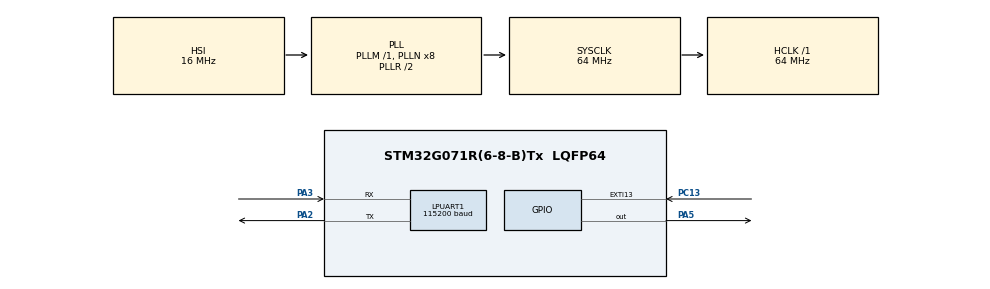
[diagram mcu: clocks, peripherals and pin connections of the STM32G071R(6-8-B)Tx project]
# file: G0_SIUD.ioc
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LPUART1.BaudRate=115200
LPUART1.WordLength=UART_WORDLENGTH_8B
Mcu.Family=STM32G0
Mcu.Name=STM32G071R(6-8-B)Tx
Mcu.Package=LQFP64
NVIC.EXTI4_15_IRQn=true\:0\:0\:false\:false\:true\:true
NVIC.USART3_4_LPUART1_IRQn=true\:0\:0\:false\:false\:true\:true
PA2.Mode=Asynchronous
PA2.Signal=LPUART1_TX
PA3.Mode=Asynchronous
PA3.Signal=LPUART1_RX
PA5.Signal=GPIO_Output
PC13.Signal=GPXTI13
ProjectManager.HeapSize=0x200
ProjectManager.StackSize=0x400
ProjectManager.TargetToolchain=MDK-ARM V5
RCC.ADCFreq_Value=64000000
RCC.AHBFreq_Value=64000000
RCC.CortexFreq_Value=64000000
RCC.EXTERNAL_CLOCK_VALUE=48000
RCC.HCLKFreq_Value=64000000
RCC.HSE_VALUE=8000000
RCC.HSI_VALUE=16000000
RCC.LSE_VALUE=32768
RCC.SYSCLKFreq_VALUE=64000000
RCC.SYSCLKSource=RCC_SYSCLKSOURCE_PLLCLK
RCC.VCOOutputFreq_Value=128000000
board=custom

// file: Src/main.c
/* USER CODE BEGIN Header */
/**
  ******************************************************************************
  * @file           : main.c
  * @brief          : Main program body
  ******************************************************************************
  ** This notice applies to any and all portions of this file
  * that are not between comment pairs USER CODE BEGIN and
  * USER CODE END. Other portions of this file, whether
  * inserted by the user or by software development tools
  * are owned by their respective copyright owners.
  *
  * COPYRIGHT(c) 2019 STMicroelectronics
  *
  * Redistribution and use in source and binary forms, with or without modification,
  * are permitted provided that the following conditions are met:
  *   1. Redistributions of source code must retain the above copyright notice,
  *      this list of conditions and the following disclaimer.
  *   2. Redistributions in binary form must reproduce the above copyright notice,
  *      this list of conditions and the following disclaimer in the documentation
  *      and/or other materials provided with the distribution.
  *   3. Neither the name of STMicroelectronics nor the names of its contributors
  *      may be used to endorse or promote products derived from this software
  *      without specific prior written permission.
  *
  * THIS SOFTWARE IS PROVIDED BY THE COPYRIGHT HOLDERS AND CONTRIBUTORS "AS IS"
  * AND ANY EXPRESS OR IMPLIED WARRANTIES, INCLUDING, BUT NOT LIMITED TO, THE
  * IMPLIED WARRANTIES OF MERCHANTABILITY AND FITNESS FOR A PARTICULAR PURPOSE ARE
  * DISCLAIMED. IN NO EVENT SHALL THE COPYRIGHT HOLDER OR CONTRIBUTORS BE LIABLE
  * FOR ANY DIRECT, INDIRECT, INCIDENTAL, SPECIAL, EXEMPLARY, OR CONSEQUENTIAL
  * DAMAGES (INCLUDING, BUT NOT LIMITED TO, PROCUREMENT OF SUBSTITUTE GOODS OR
  * SERVICES; LOSS OF USE, DATA, OR PROFITS; OR BUSINESS INTERRUPTION) HOWEVER
  * CAUSED AND ON ANY THEORY OF LIABILITY, WHETHER IN CONTRACT, STRICT LIABILITY,
  * OR TORT (INCLUDING NEGLIGENCE OR OTHERWISE) ARISING IN ANY WAY OUT OF THE USE
  * OF THIS SOFTWARE, EVEN IF ADVISED OF THE POSSIBILITY OF SUCH DAMAGE.
  *
  ******************************************************************************
  */
/* USER CODE END Header */

#include "main.h"

/* USER CODE BEGIN Includes */
#include <stdio.h>
/* USER CODE END Includes */

UART_HandleTypeDef hlpuart1;

/* USER CODE BEGIN PV */

uint8_t PC13_flag = 0;
uint8_t bufferTX [] = {117,27,3};	//data to be transmitted
uint8_t bufferRX [3];	//data to be received from the uart interupt

/* USER CODE END PV */

void SystemClock_Config(void);
static void MX_GPIO_Init(void);
static void MX_LPUART1_UART_Init(void);
/* USER CODE BEGIN PFP */
 #ifdef GNUC
 #define PUTCHAR_PROTOTYPE int __io_putchar(int ch)
 #define GETCHAR_PROTOTYPE int __io_getchar(void)
 #else
 #define PUTCHAR_PROTOTYPE int fputc(int ch, FILE *f) 		//declare your function prototypes for putchar and getchar
 #define GETCHAR_PROTOTYPE int fgetc(FILE *f)
 #endif /* GNUC */
/* USER CODE END PFP */

int main(void)
{

  /* MCU Configuration--------------------------------------------------------*/

  /* Reset of all peripherals, Initializes the Flash interface and the Systick. */
  HAL_Init();

  /* Configure the system clock */
  SystemClock_Config();

  /* Initialize all configured peripherals */
  MX_GPIO_Init();
  MX_LPUART1_UART_Init();
  /* USER CODE BEGIN 2 */

	//UART interrupt receive and transfer data goes here

	HAL_UART_Receive_IT(&hlpuart1, bufferRX, 3);
	HAL_UART_Transmit_IT(&hlpuart1, bufferTX, 3);

	//Now we need to handle the callback

  /* USER CODE END 2 */

  /* Infinite loop */
  /* USER CODE BEGIN WHILE */
	char buffer[ 50 ];
	printf("Enter whatever you like and press space or enter: \n\r");
  while (1)
  {

		//fgets(buffer, 50 ,stdin);
		scanf("%s", buffer);		//Demontrating use of scanf
		printf("\n\r");
		printf("This is the output: ");
		printf("%s", buffer); //demontrating use of printf
    /* USER CODE END WHILE */

  }
}

void SystemClock_Config(void)
{
  RCC_OscInitTypeDef RCC_OscInitStruct = {0};
  RCC_ClkInitTypeDef RCC_ClkInitStruct = {0};
  RCC_PeriphCLKInitTypeDef PeriphClkInit = {0};

  /**Configure the main internal regulator output voltage
  */
  HAL_PWREx_ControlVoltageScaling(PWR_REGULATOR_VOLTAGE_SCALE1);
  /**Initializes the CPU, AHB and APB busses clocks
  */
  RCC_OscInitStruct.OscillatorType = RCC_OSCILLATORTYPE_HSI;
  RCC_OscInitStruct.HSIState = RCC_HSI_ON;
  RCC_OscInitStruct.HSIDiv = RCC_HSI_DIV1;
  RCC_OscInitStruct.HSICalibrationValue = RCC_HSICALIBRATION_DEFAULT;
  RCC_OscInitStruct.PLL.PLLState = RCC_PLL_ON;
  RCC_OscInitStruct.PLL.PLLSource = RCC_PLLSOURCE_HSI;
  RCC_OscInitStruct.PLL.PLLM = RCC_PLLM_DIV1;
  RCC_OscInitStruct.PLL.PLLN = 8;
  RCC_OscInitStruct.PLL.PLLP = RCC_PLLP_DIV2;
  RCC_OscInitStruct.PLL.PLLQ = RCC_PLLQ_DIV2;
  RCC_OscInitStruct.PLL.PLLR = RCC_PLLR_DIV2;
  if (HAL_RCC_OscConfig(&RCC_OscInitStruct) != HAL_OK)
  {
    Error_Handler();
  }
  /**Initializes the CPU, AHB and APB busses clocks
  */
  RCC_ClkInitStruct.ClockType = RCC_CLOCKTYPE_HCLK|RCC_CLOCKTYPE_SYSCLK
                              |RCC_CLOCKTYPE_PCLK1;
  RCC_ClkInitStruct.SYSCLKSource = RCC_SYSCLKSOURCE_PLLCLK;
  RCC_ClkInitStruct.AHBCLKDivider = RCC_SYSCLK_DIV1;
  RCC_ClkInitStruct.APB1CLKDivider = RCC_HCLK_DIV1;

  if (HAL_RCC_ClockConfig(&RCC_ClkInitStruct, FLASH_LATENCY_2) != HAL_OK)
  {
    Error_Handler();
  }
  /**Initializes the peripherals clocks
  */
  PeriphClkInit.PeriphClockSelection = RCC_PERIPHCLK_LPUART1;
  PeriphClkInit.Lpuart1ClockSelection = RCC_LPUART1CLKSOURCE_PCLK1;
  if (HAL_RCCEx_PeriphCLKConfig(&PeriphClkInit) != HAL_OK)
  {
    Error_Handler();
  }
}

static void MX_LPUART1_UART_Init(void)
{

  hlpuart1.Instance = LPUART1;
  hlpuart1.Init.BaudRate = 115200;
  hlpuart1.Init.WordLength = UART_WORDLENGTH_8B;
  hlpuart1.Init.StopBits = UART_STOPBITS_1;
  hlpuart1.Init.Parity = UART_PARITY_NONE;
  hlpuart1.Init.Mode = UART_MODE_TX_RX;
  hlpuart1.Init.HwFlowCtl = UART_HWCONTROL_NONE;
  hlpuart1.Init.OneBitSampling = UART_ONE_BIT_SAMPLE_DISABLE;
  hlpuart1.Init.ClockPrescaler = UART_PRESCALER_DIV1;
  hlpuart1.AdvancedInit.AdvFeatureInit = UART_ADVFEATURE_NO_INIT;
  hlpuart1.FifoMode = UART_FIFOMODE_DISABLE;
  if (HAL_UART_Init(&hlpuart1) != HAL_OK)
  {
    Error_Handler();
  }
  if (HAL_UARTEx_SetTxFifoThreshold(&hlpuart1, UART_TXFIFO_THRESHOLD_1_8) != HAL_OK)
  {
    Error_Handler();
  }
  if (HAL_UARTEx_SetRxFifoThreshold(&hlpuart1, UART_RXFIFO_THRESHOLD_1_8) != HAL_OK)
  {
    Error_Handler();
  }
  if (HAL_UARTEx_DisableFifoMode(&hlpuart1) != HAL_OK)
  {
    Error_Handler();
  }

}

static void MX_GPIO_Init(void)
{
  GPIO_InitTypeDef GPIO_InitStruct = {0};

  /* GPIO Ports Clock Enable */
  __HAL_RCC_GPIOC_CLK_ENABLE();
  __HAL_RCC_GPIOA_CLK_ENABLE();

  /*Configure GPIO pin Output Level */
  HAL_GPIO_WritePin(GPIOA, GPIO_PIN_5, GPIO_PIN_RESET);

  /*Configure GPIO pin : PC13 */
  GPIO_InitStruct.Pin = GPIO_PIN_13;
  GPIO_InitStruct.Mode = GPIO_MODE_IT_RISING;
  GPIO_InitStruct.Pull = GPIO_NOPULL;
  HAL_GPIO_Init(GPIOC, &GPIO_InitStruct);

  /*Configure GPIO pin : PA5 */
  GPIO_InitStruct.Pin = GPIO_PIN_5;
  GPIO_InitStruct.Mode = GPIO_MODE_OUTPUT_PP;
  GPIO_InitStruct.Pull = GPIO_NOPULL;
  GPIO_InitStruct.Speed = GPIO_SPEED_FREQ_LOW;
  HAL_GPIO_Init(GPIOA, &GPIO_InitStruct);

  /* EXTI interrupt init*/
  HAL_NVIC_SetPriority(EXTI4_15_IRQn, 0, 0);
  HAL_NVIC_EnableIRQ(EXTI4_15_IRQn);

}

/* USER CODE BEGIN 4 */

GETCHAR_PROTOTYPE
{
int ch;
HAL_UART_Receive(&hlpuart1,(uint8_t *)&ch, 1,0xFFFF);
return ch;
}

PUTCHAR_PROTOTYPE
{
HAL_UART_Transmit(&hlpuart1,(uint8_t *)&ch, 1,0xFFFF);
return ch;
}

void HAL_GPIO_EXTI_Rising_Callback(uint16_t GPIO_Pin)
{
PC13_flag++;

if ( ( PC13_flag & 0x01 ) == 0x01 )
{
HAL_GPIO_TogglePin(GPIOA, GPIO_PIN_5);
}

}

void HAL_UART_RX_Callback(UART_HandleTypeDef *hlpuart){
	__NOP(); //for debugging
}

void HAL_UART_TX_Callback(UART_HandleTypeDef *hlpuart){
	__NOP(); //for debugging
}

/* USER CODE END 4 */

void Error_Handler(void)
{
}

/************************ (C) COPYRIGHT STMicroelectronics *****END OF FILE****/
